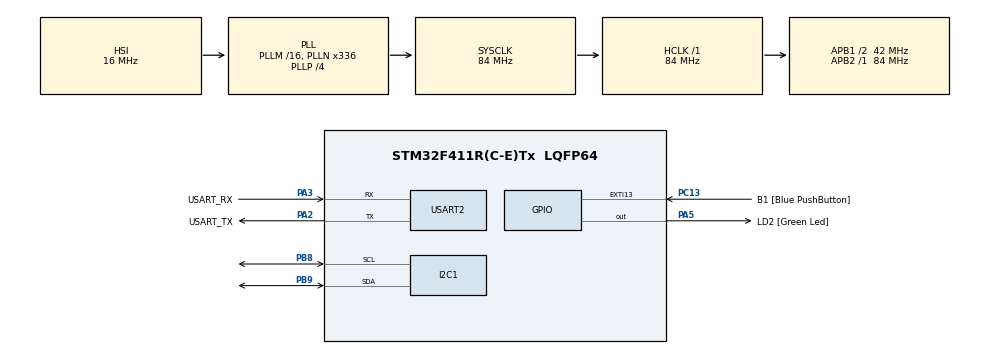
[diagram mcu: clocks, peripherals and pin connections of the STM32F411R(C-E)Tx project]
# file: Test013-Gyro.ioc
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Mcu.Family=STM32F4
Mcu.Name=STM32F411R(C-E)Tx
Mcu.Package=LQFP64
NVIC.PriorityGroup=NVIC_PRIORITYGROUP_0
PA13.GPIO_Label=TMS
PA13.Mode=Serial_Wire
PA13.Signal=SYS_JTMS-SWDIO
PA14.GPIO_Label=TCK
PA14.Mode=Serial_Wire
PA14.Signal=SYS_JTCK-SWCLK
PA2.GPIO_Label=USART_TX
PA2.Mode=Asynchronous
PA2.Signal=USART2_TX
PA3.GPIO_Label=USART_RX
PA3.Mode=Asynchronous
PA3.Signal=USART2_RX
PA5.GPIO_Label=LD2 [Green Led]
PA5.Signal=GPIO_Output
PB3.GPIO_Label=SWO
PB3.Signal=SYS_JTDO-SWO
PB8.Mode=I2C
PB8.Signal=I2C1_SCL
PB9.Mode=I2C
PB9.Signal=I2C1_SDA
PC13-ANTI_TAMP.GPIO_Label=B1 [Blue PushButton]
PC13-ANTI_TAMP.GPIO_ModeDefaultEXTI=GPIO_MODE_IT_FALLING
PC13-ANTI_TAMP.Signal=GPXTI13
PC14-OSC32_IN.Mode=LSE-External-Oscillator
PC14-OSC32_IN.Signal=RCC_OSC32_IN
PC15-OSC32_OUT.Mode=LSE-External-Oscillator
PC15-OSC32_OUT.Signal=RCC_OSC32_OUT
PH0\ -\ OSC_IN.Mode=HSE-External-Clock-Source
PH0\ -\ OSC_IN.Signal=RCC_OSC_IN
PH1\ -\ OSC_OUT.Mode=HSE-External-Clock-Source
PH1\ -\ OSC_OUT.Signal=RCC_OSC_OUT
ProjectManager.HeapSize=0x200
ProjectManager.StackSize=0x400
ProjectManager.TargetToolchain=STM32CubeIDE
RCC.48MHZClocksFreq_Value=84000000
RCC.AHBFreq_Value=84000000
RCC.APB1CLKDivider=RCC_HCLK_DIV2
RCC.APB1Freq_Value=42000000
RCC.APB1TimFreq_Value=84000000
RCC.APB2Freq_Value=84000000
RCC.APB2TimFreq_Value=84000000
RCC.CortexFreq_Value=84000000
RCC.FLatency-AdvancedSettings=FLASH_LATENCY_2
RCC.HCLKFreq_Value=84000000
RCC.HSE_VALUE=8000000
RCC.HSI_VALUE=16000000
RCC.PLLN=336
RCC.PLLP=RCC_PLLP_DIV4
RCC.SYSCLKFreq_VALUE=84000000
RCC.SYSCLKSource=RCC_SYSCLKSOURCE_PLLCLK
RCC.VCOOutputFreq_Value=336000000
USART2.VirtualMode=VM_ASYNC
board=NUCLEO-F411RE

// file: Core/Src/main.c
/* USER CODE BEGIN Header */
/**
  ******************************************************************************
  * @file           : main.c
  * @brief          : Main program body
  ******************************************************************************
  * @attention
  *
  * Copyright (c) 2025 STMicroelectronics.
  * All rights reserved.
  *
  * This software is licensed under terms that can be found in the LICENSE file
  * in the root directory of this software component.
  * If no LICENSE file comes with this software, it is provided AS-IS.
  *
  ******************************************************************************
  */
/* USER CODE END Header */
#include "main.h"

/* USER CODE BEGIN Includes */
#include "C:\Users\user\STM32Cube\Repository\STM32Cube_FW_F4_V1.28.1\Drivers\STM32F4xx_HAL_Driver\Inc\stm32f4xx_hal_i2c.h"

/* USER CODE END Includes */

I2C_HandleTypeDef hi2c1;

UART_HandleTypeDef huart2;

void SystemClock_Config(void);
static void MX_GPIO_Init(void);
static void MX_USART2_UART_Init(void);
static void MX_I2C1_Init(void);

int main(void)
{

  /* MCU Configuration--------------------------------------------------------*/

  /* Reset of all peripherals, Initializes the Flash interface and the Systick. */
  HAL_Init();

  /* Configure the system clock */
  SystemClock_Config();

  /* Initialize all configured peripherals */
  MX_GPIO_Init();
  MX_USART2_UART_Init();
  MX_I2C1_Init();
  /* USER CODE BEGIN 2 */

  uint16_t GY6500 = 0xd0;
  unsigned char whoami;
  ProgramStart ("Gyroscope GY-6500 Test");
  i2c_init(&hi2c1);
  i2c_scan();	//GY-6500 : 0xD0

  lcd_init(); HAL_Delay(100);

  //HAL_I2C_Mem_Read(hi2c, DevAddress, MemAddress, MemAddSize, pData, Size, Timeout)
  HAL_I2C_Mem_Read(&hi2c1, GY6500, 0x75, 1, &whoami, 1, 1000 );
  printf("GY-6500 (WHO_AM_I) info : %02x\r\n" ,whoami);

  HAL_I2C_Mem_Read(&hi2c1, 0x4e, 0x75, 1, &whoami, 1, 1000 );
  printf("LCD1602 (WHO_AM_I) info : %02x\r\n" ,whoami);

  // MPU-6500 Initial Config
  unsigned char Data;
  Data = 0;  //PWR_MGMT_1(0x6B) = 0
  HAL_I2C_Mem_Write(&hi2c1, GY6500, 0x6B, 1, &Data, 1, 1000 );
  Data = 7;  //SMPLRT_DIV (0x19) = 7, 1 KHz sampling rate
  HAL_I2C_Mem_Write(&hi2c1, GY6500, 0x19, 1, &Data, 1, 1000 );
  Data = 0;  //CONFIG (0x1A) = 0
  HAL_I2C_Mem_Write(&hi2c1, GY6500, 0x1A, 1, &Data, 1, 1000 );
  Data = 0;  //Gyro_CONFIG(0x1B) = 0
  HAL_I2C_Mem_Write(&hi2c1, GY6500, 0x1B, 1, &Data, 1, 1000 );
  Data = 0;  //ACCEL_CONFIG(0x1C) = 0
  HAL_I2C_Mem_Write(&hi2c1, GY6500, 0x1C, 1, &Data, 1, 1000 );

  /* USER CODE END 2 */

  /* Infinite loop */
  /* USER CODE BEGIN WHILE */
  unsigned char acc[6];
  unsigned char gyro[6];
  char buffer1[15], buffer2[15];
  while (1)
  {
	  //ACCEL Data READ : 0x3B XH-XL-YH-YL-ZH-ZL (high, low)
	  HAL_I2C_Mem_Read(&hi2c1, GY6500, 0x3B, 1, acc, 6, 1000);
	  int acc_x = (int)((acc[0] << 8) + acc[1]);
	  int acc_y = (int)((acc[2] << 8) + acc[3]);
	  int acc_z = (int)((acc[4] << 8) + acc[5]);

	  double ax = acc_x / 16384;	// g Value
	  double ay = acc_y / 16384;	// g Value
	  double az = acc_z / 16384;	// g Value

	  printf("accX:%d  accY:%d  accZ:%d\r\n", acc_x, acc_y, acc_z);
	  printf("ax:%f,ay:%f,az:%f\r\n", ax, ay, az);

	  HAL_Delay(100);

	  //ACCEL Data READ : 0x3B XH-XL-YH-YL-ZH-ZL (high, low)
	  HAL_I2C_Mem_Read(&hi2c1, GY6500, 0x43, 1, gyro, 6, 1000);
	  int gyro_x = (int)((gyro[0] << 8) + gyro[1]);
	  int gyro_y = (int)((gyro[2] << 8) + gyro[3]);
	  int gyro_z = (int)((gyro[4] << 8) + gyro[5]);

	  double gx = gyro_x / 131;	// g Value
	  double gy = gyro_y / 131;	// g Value
	  double gz = gyro_z / 131;	// g Value

	  printf("gyroX:%d  gyroY:%d  gyroZ:%d\r\n", gyro_x, gyro_y, gyro_z);
	  printf("gx:%f,gy:%f,gz:%f\r\n", gx, gy, gz);
	  printf("--------------------------------------------------------\r\n");
	  HAL_Delay(100);

	  sprintf( buffer1, "%.1f,%.1f,%.1f", ax, ay, az);  //buffer : word save space
	  lcd_printEx(buffer1, 0);
	  HAL_Delay(150);

	  sprintf( buffer2, "%.1f,%.1f,%.1f", gx, gy, gz);  //buffer : word Ssave space
	  lcd_printEx(buffer2, 1);
	  HAL_Delay(150);

	  /*sprintf( buffer, "%d,%d,%d", acc_x, acc_y, acc_z);  //buffer : word save space
	  lcd_printEx(buffer, 0);
	  HAL_Delay(150);
	  */
	  //sprintf( buffer, "Humi : %-4.1f", hm);  //4.1 : 1 in 4 is decimal
	  //lcd_printEx(buffer, 1);
	  //HAL_Delay(150);
    /* USER CODE END WHILE */

  }
}

void SystemClock_Config(void)
{
  RCC_OscInitTypeDef RCC_OscInitStruct = {0};
  RCC_ClkInitTypeDef RCC_ClkInitStruct = {0};

  /** Configure the main internal regulator output voltage
  */
  __HAL_RCC_PWR_CLK_ENABLE();
  __HAL_PWR_VOLTAGESCALING_CONFIG(PWR_REGULATOR_VOLTAGE_SCALE1);

  /** Initializes the RCC Oscillators according to the specified parameters
  * in the RCC_OscInitTypeDef structure.
  */
  RCC_OscInitStruct.OscillatorType = RCC_OSCILLATORTYPE_HSI;
  RCC_OscInitStruct.HSIState = RCC_HSI_ON;
  RCC_OscInitStruct.HSICalibrationValue = RCC_HSICALIBRATION_DEFAULT;
  RCC_OscInitStruct.PLL.PLLState = RCC_PLL_ON;
  RCC_OscInitStruct.PLL.PLLSource = RCC_PLLSOURCE_HSI;
  RCC_OscInitStruct.PLL.PLLM = 16;
  RCC_OscInitStruct.PLL.PLLN = 336;
  RCC_OscInitStruct.PLL.PLLP = RCC_PLLP_DIV4;
  RCC_OscInitStruct.PLL.PLLQ = 4;
  if (HAL_RCC_OscConfig(&RCC_OscInitStruct) != HAL_OK)
  {
    Error_Handler();
  }

  /** Initializes the CPU, AHB and APB buses clocks
  */
  RCC_ClkInitStruct.ClockType = RCC_CLOCKTYPE_HCLK|RCC_CLOCKTYPE_SYSCLK
                              |RCC_CLOCKTYPE_PCLK1|RCC_CLOCKTYPE_PCLK2;
  RCC_ClkInitStruct.SYSCLKSource = RCC_SYSCLKSOURCE_PLLCLK;
  RCC_ClkInitStruct.AHBCLKDivider = RCC_SYSCLK_DIV1;
  RCC_ClkInitStruct.APB1CLKDivider = RCC_HCLK_DIV2;
  RCC_ClkInitStruct.APB2CLKDivider = RCC_HCLK_DIV1;

  if (HAL_RCC_ClockConfig(&RCC_ClkInitStruct, FLASH_LATENCY_2) != HAL_OK)
  {
    Error_Handler();
  }
}

static void MX_I2C1_Init(void)
{

  hi2c1.Instance = I2C1;
  hi2c1.Init.ClockSpeed = 100000;
  hi2c1.Init.DutyCycle = I2C_DUTYCYCLE_2;
  hi2c1.Init.OwnAddress1 = 0;
  hi2c1.Init.AddressingMode = I2C_ADDRESSINGMODE_7BIT;
  hi2c1.Init.DualAddressMode = I2C_DUALADDRESS_DISABLE;
  hi2c1.Init.OwnAddress2 = 0;
  hi2c1.Init.GeneralCallMode = I2C_GENERALCALL_DISABLE;
  hi2c1.Init.NoStretchMode = I2C_NOSTRETCH_DISABLE;
  if (HAL_I2C_Init(&hi2c1) != HAL_OK)
  {
    Error_Handler();
  }

}

static void MX_USART2_UART_Init(void)
{

  huart2.Instance = USART2;
  huart2.Init.BaudRate = 115200;
  huart2.Init.WordLength = UART_WORDLENGTH_8B;
  huart2.Init.StopBits = UART_STOPBITS_1;
  huart2.Init.Parity = UART_PARITY_NONE;
  huart2.Init.Mode = UART_MODE_TX_RX;
  huart2.Init.HwFlowCtl = UART_HWCONTROL_NONE;
  huart2.Init.OverSampling = UART_OVERSAMPLING_16;
  if (HAL_UART_Init(&huart2) != HAL_OK)
  {
    Error_Handler();
  }

}

static void MX_GPIO_Init(void)
{
  GPIO_InitTypeDef GPIO_InitStruct = {0};

  /* GPIO Ports Clock Enable */
  __HAL_RCC_GPIOC_CLK_ENABLE();
  __HAL_RCC_GPIOH_CLK_ENABLE();
  __HAL_RCC_GPIOA_CLK_ENABLE();
  __HAL_RCC_GPIOB_CLK_ENABLE();

  /*Configure GPIO pin Output Level */
  HAL_GPIO_WritePin(LD2_GPIO_Port, LD2_Pin, GPIO_PIN_RESET);

  /*Configure GPIO pin : B1_Pin */
  GPIO_InitStruct.Pin = B1_Pin;
  GPIO_InitStruct.Mode = GPIO_MODE_IT_FALLING;
  GPIO_InitStruct.Pull = GPIO_NOPULL;
  HAL_GPIO_Init(B1_GPIO_Port, &GPIO_InitStruct);

  /*Configure GPIO pin : LD2_Pin */
  GPIO_InitStruct.Pin = LD2_Pin;
  GPIO_InitStruct.Mode = GPIO_MODE_OUTPUT_PP;
  GPIO_InitStruct.Pull = GPIO_NOPULL;
  GPIO_InitStruct.Speed = GPIO_SPEED_FREQ_LOW;
  HAL_GPIO_Init(LD2_GPIO_Port, &GPIO_InitStruct);

}

void Error_Handler(void)
{
  __disable_irq();
  while (1)
  {
  }
}
